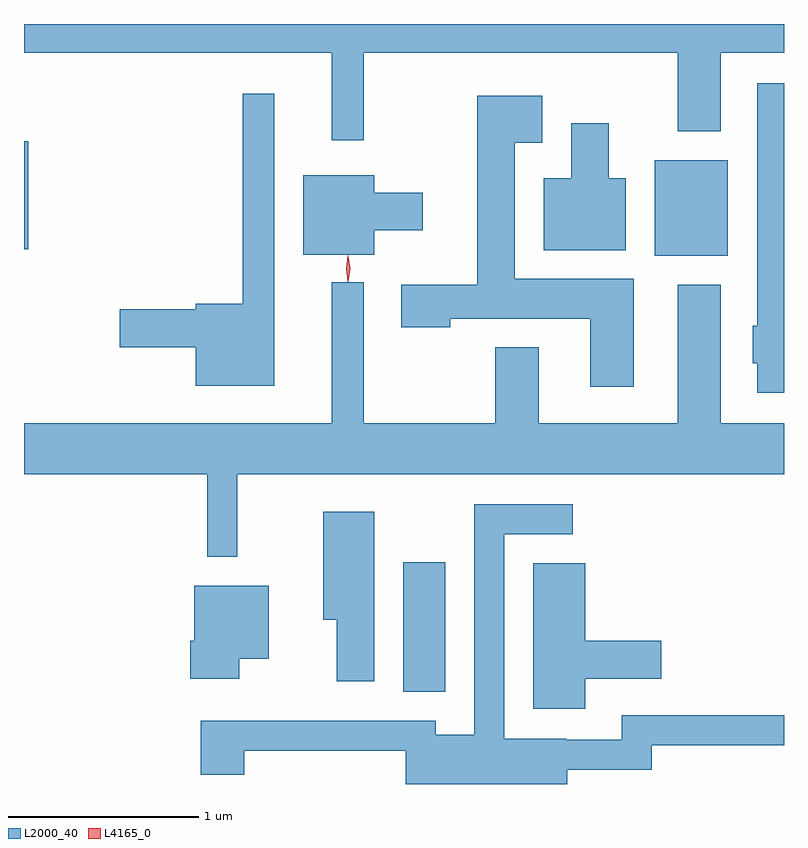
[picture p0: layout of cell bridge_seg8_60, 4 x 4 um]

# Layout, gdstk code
import gdstk
lib = gdstk.Library(unit=1e-6, precision=1e-09)
def R(c, l, rs):  # rectangles x0, y0, x1, y1
    for r in rs: c.add(gdstk.rectangle(r[:2], r[2:], *l))
def P(c, l, *ps):  # polygons
    for p in ps: c.add(gdstk.Polygon(p, *l))
L2000_40 = (2000, 40)
L4165_0 = (4165, 0)

bridge_seg8_60 = lib.new_cell('bridge_seg8_60')
R(bridge_seg8_60, L2000_40, [(1489.186,1935.171,1489.409,1935.854), (1490.511,1937.466,1490.894,1937.969), (1487.191,1937.501,1487.214,1938.069)])
P(bridge_seg8_60, L2000_40, [(1488.979,1938.536),(1490.631,1938.536),(1490.631,1938.121),(1490.859,1938.121),(1490.859,1938.536),(1491.191,1938.536),(1491.191,1938.686),(1487.191,1938.686),(1487.191,1938.536),(1488.811,1938.536),(1488.811,1938.073),(1488.979,1938.073)],
  [(1491.191,1938.374),(1491.051,1938.374),(1491.051,1937.099),(1491.026,1937.099),(1491.026,1936.901),(1491.051,1936.901),(1491.051,1936.746),(1491.191,1936.746)],
  [(1488.509,1938.318),(1488.341,1938.318),(1488.341,1937.214),(1488.096,1937.214),(1488.096,1937.184),(1487.696,1937.184),(1487.696,1936.986),(1488.096,1936.986),(1488.096,1936.781),(1488.509,1936.781)],
  [(1490.399,1937.344),(1489.774,1937.344),(1489.774,1938.061),(1489.919,1938.061),(1489.919,1938.309),(1489.576,1938.309),(1489.576,1937.314),(1489.176,1937.314),(1489.176,1937.091),(1489.434,1937.091),(1489.434,1937.136),(1490.171,1937.136),(1490.171,1936.776),(1490.399,1936.776)],
  [(1490.359,1937.874),(1490.269,1937.874),(1490.269,1938.164),(1490.071,1938.164),(1490.071,1937.874),(1489.926,1937.874),(1489.926,1937.496),(1490.359,1937.496)],
  [(1489.034,1937.601),(1489.289,1937.601),(1489.289,1937.799),(1489.034,1937.799),(1489.034,1937.889),(1488.661,1937.889),(1488.661,1937.471),(1489.034,1937.471)],
  [(1488.314,1936.316),(1491.191,1936.316),(1491.191,1936.584),(1490.859,1936.584),(1490.859,1937.314),(1490.631,1937.314),(1490.631,1936.584),(1489.899,1936.584),(1489.899,1936.984),(1489.671,1936.984),(1489.671,1936.584),(1488.979,1936.584),(1488.979,1937.328),(1488.811,1937.328),(1488.811,1936.584),(1487.191,1936.584),(1487.191,1936.316),(1488.156,1936.316),(1488.156,1935.883),(1488.314,1935.883)],
  [(1490.049,1934.761),(1490.494,1934.761),(1490.494,1934.891),(1491.191,1934.891),(1491.191,1935.049),(1490.336,1935.049),(1490.336,1934.919),(1490.045,1934.919),(1490.045,1934.924),(1489.719,1934.924),(1489.719,1936.001),(1490.078,1936.001),(1490.078,1936.159),(1489.561,1936.159),(1489.561,1934.944),(1489.359,1934.944),(1489.359,1935.019),(1488.121,1935.019),(1488.121,1934.736),(1488.349,1934.736),(1488.349,1934.861),(1489.201,1934.861),(1489.201,1934.686),(1490.049,1934.686)],
  [(1489.034,1936.119),(1488.766,1936.119),(1488.766,1935.551),(1488.836,1935.551),(1488.836,1935.226),(1489.034,1935.226)],
  [(1490.144,1935.241),(1490.544,1935.241),(1490.544,1935.439),(1490.144,1935.439),(1490.144,1935.849),(1489.871,1935.849),(1489.871,1935.081),(1490.144,1935.081)],
  [(1488.324,1935.346),(1488.479,1935.346),(1488.479,1935.729),(1488.086,1935.729),(1488.086,1935.439),(1488.066,1935.439),(1488.066,1935.241),(1488.324,1935.241)])
P(bridge_seg8_60, L4165_0, [(1488.895,1937.333),(1488.895,1937.333),(1488.886,1937.397),(1488.897,1937.46),(1488.897,1937.46),(1488.898,1937.46),(1488.906,1937.396),(1488.896,1937.333)],
  [(1488.897,1937.329),(1488.896,1937.33),(1488.887,1937.397),(1488.896,1937.465),(1488.897,1937.466),(1488.897,1937.465),(1488.907,1937.397),(1488.897,1937.33)])

lib.write_gds('bridge_seg8_60.gds')
